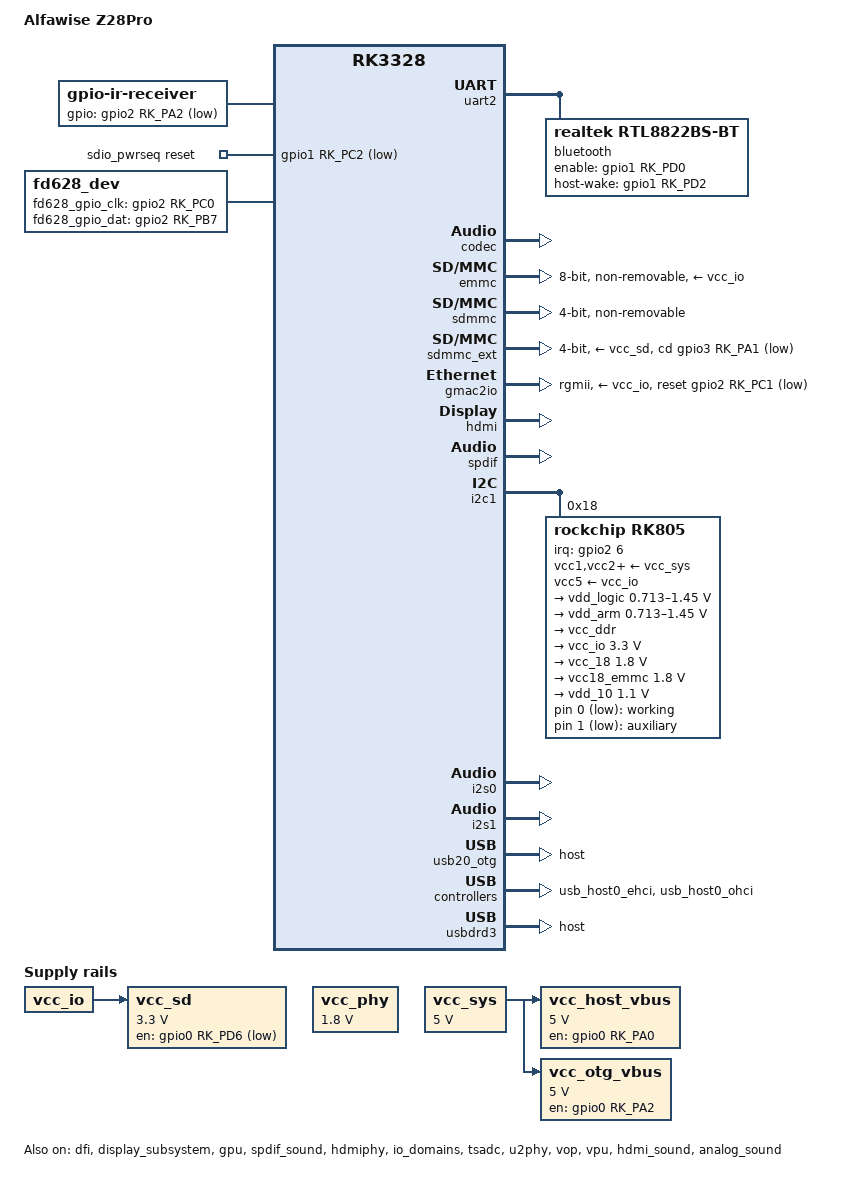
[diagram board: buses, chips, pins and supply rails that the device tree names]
// SPDX-License-Identifier: (GPL-2.0+ OR MIT)
/*
 * Copyright (c) 2020 Paolo Sabatino
 */

/dts-v1/;
#include "dt-bindings/pwm/pwm.h"
#include "dt-bindings/input/input.h"
#include <dt-bindings/clock/rockchip-ddr.h>
#include <dt-bindings/memory/rk3328-dram.h>
#include "rk3328.dtsi"

/ {
	model = "Alfawise Z28Pro";
	compatible = "rockchip,rk3318-box", "rockchip,rk3328-box", "rockchip,rk3328";

	aliases {
		mmc0 = &sdmmc;
		mmc1 = &sdio;
		mmc2 = &emmc;
		mmc3 = &sdmmc_ext;
	};

	chosen {
		stdout-path = "serial0:1500000n8";
	};

	adc_keys: adc-keys {

		compatible = "adc-keys";
		io-channels = <&saradc 0>;
		io-channel-names = "buttons";
		keyup-threshold-microvolt = <1800000>;
		poll-interval = <100>;
		status = "disabled";

		recovery {
			label = "recovery";
			linux,code = <KEY_VENDOR>;
			press-threshold-microvolt = <17000>;
		};

	};

	xin32k: xin32k {
		compatible = "fixed-clock";
		clock-frequency = <32768>;
		clock-output-names = "xin32k";
		#clock-cells = <0>;
		status = "disabled";
	};

	gmac_clkin: gmac-clkin {
		compatible = "fixed-clock";
		clock-frequency = <125000000>;
		clock-output-names = "gmac_clkin";
		#clock-cells = <0x00>;
	};

	vcc_phy: vcc-phy-regulator {
		compatible = "regulator-fixed";
		regulator-name = "vcc_phy";
		regulator-min-microvolt = <1800000>;
		regulator-max-microvolt = <1800000>;
		regulator-always-on;
		regulator-boot-on;
	};

	vcc_sys: vcc-sys {
		compatible = "regulator-fixed";
		regulator-name = "vcc_sys";
		regulator-always-on;
		regulator-boot-on;
		regulator-min-microvolt = <5000000>;
		regulator-max-microvolt = <5000000>;
	};

	vcc_sd: sdmmc-regulator {
		compatible = "regulator-fixed";
		gpio = <&gpio0 RK_PD6 GPIO_ACTIVE_LOW>;
		pinctrl-names = "default";
		pinctrl-0 = <&sdmmc0m1_pin>;
		regulator-name = "vcc_sd";
		regulator-always-on;
		regulator-boot-on;
		regulator-min-microvolt = <3300000>;
		regulator-max-microvolt = <3300000>;
		vin-supply = <&vcc_io>;
	};

	/*
	 * USB3 vbus
	 */
	vcc_host_vbus: vcc-host-vbus {
		compatible = "regulator-fixed";
		enable-active-high;
		gpio = <&gpio0 RK_PA0 GPIO_ACTIVE_HIGH>;
		pinctrl-names = "default";
		pinctrl-0 = <&usb30_host_drv>;
		regulator-name = "vcc_host_vbus";
		regulator-always-on;
		regulator-min-microvolt = <5000000>;
		regulator-max-microvolt = <5000000>;
		vin-supply = <&vcc_sys>;
	};

	/*
	 * USB2 OTG vbus
	 */
	vcc_otg_vbus: vcc-otg-vbus {
		compatible = "regulator-fixed";
		enable-active-high;
		gpio = <&gpio0 RK_PA2 GPIO_ACTIVE_HIGH>;
		pinctrl-names = "default";
		pinctrl-0 = <&usb20_host_drv>;
		regulator-name = "vcc_otg_vbus";
		regulator-always-on;
		regulator-min-microvolt = <5000000>;
		regulator-max-microvolt = <5000000>;
		vin-supply = <&vcc_sys>;
	};

	ir-receiver {
		compatible = "gpio-ir-receiver";
		gpios = <&gpio2 RK_PA2 GPIO_ACTIVE_LOW>;
		pinctrl-0 = <&ir_int>;
		pinctrl-names = "default";
	};

	sdio_pwrseq: sdio-pwrseq {
		compatible = "mmc-pwrseq-simple";
		pinctrl-names = "default";
		pinctrl-0 = <&wifi_enable_h>;
		reset-gpios = <&gpio1 RK_PC2 GPIO_ACTIVE_LOW>;
		post-power-on-delay-ms = <2000>;
	};

	fd628_dev {
		compatible = "fd628_dev";
		fd628_gpio_clk = <&gpio2 RK_PC0 GPIO_ACTIVE_HIGH>;
		fd628_gpio_dat = <&gpio2 RK_PB7 GPIO_ACTIVE_HIGH>;
		status = "okay";
	};

	analog-sound {
		compatible = "simple-audio-card";
		simple-audio-card,format = "i2s";
		simple-audio-card,mclk-fs = <256>;
		simple-audio-card,name = "ANALOG";

		simple-audio-card,cpu {
			sound-dai = <&i2s1>;
		};

		simple-audio-card,codec {
			sound-dai = <&codec>;
		};
	};

	hdmi-sound {
		compatible = "simple-audio-card";
		simple-audio-card,format = "i2s";
		simple-audio-card,mclk-fs = <128>;
		simple-audio-card,name = "HDMI";

		simple-audio-card,cpu {
			sound-dai = <&i2s0>;
		};

		simple-audio-card,codec {
			sound-dai = <&hdmi>;
		};
	};

	ddr_timing: ddr_timing {
		compatible = "rockchip,ddr-timing";
		ddr3_speed_bin = <DDR3_DEFAULT>;
		ddr4_speed_bin = <DDR4_DEFAULT>;
		pd_idle = <0>;
		sr_idle = <0>;
		sr_mc_gate_idle = <0>;
		srpd_lite_idle	= <0>;
		standby_idle = <0>;

		auto_pd_dis_freq = <1066>;
		auto_sr_dis_freq = <800>;
		ddr3_dll_dis_freq = <300>;
		ddr4_dll_dis_freq = <625>;
		phy_dll_dis_freq = <400>;

		ddr3_odt_dis_freq = <100>;
		phy_ddr3_odt_dis_freq = <100>;
		ddr3_drv = <DDR3_DS_40ohm>;
		ddr3_odt = <DDR3_ODT_120ohm>;
		phy_ddr3_ca_drv = <PHY_DDR3_RON_RTT_23ohm>;
		phy_ddr3_ck_drv = <PHY_DDR3_RON_RTT_34ohm>;
		phy_ddr3_dq_drv = <PHY_DDR3_RON_RTT_34ohm>;
		phy_ddr3_odt = <PHY_DDR3_RON_RTT_150ohm>;

		lpddr3_odt_dis_freq = <666>;
		phy_lpddr3_odt_dis_freq = <666>;
		lpddr3_drv = <LP3_DS_40ohm>;
		lpddr3_odt = <LP3_ODT_240ohm>;
		phy_lpddr3_ca_drv = <PHY_DDR4_LPDDR3_RON_RTT_34ohm>;
		phy_lpddr3_ck_drv = <PHY_DDR4_LPDDR3_RON_RTT_43ohm>;
		phy_lpddr3_dq_drv = <PHY_DDR4_LPDDR3_RON_RTT_34ohm>;
		phy_lpddr3_odt = <PHY_DDR4_LPDDR3_RON_RTT_240ohm>;

		lpddr4_odt_dis_freq = <800>;
		phy_lpddr4_odt_dis_freq = <800>;
		lpddr4_drv = <LP4_PDDS_60ohm>;
		lpddr4_dq_odt = <LP4_DQ_ODT_40ohm>;
		lpddr4_ca_odt = <LP4_CA_ODT_40ohm>;
		phy_lpddr4_ca_drv = <PHY_DDR4_LPDDR3_RON_RTT_40ohm>;
		phy_lpddr4_ck_cs_drv = <PHY_DDR4_LPDDR3_RON_RTT_80ohm>;
		phy_lpddr4_dq_drv = <PHY_DDR4_LPDDR3_RON_RTT_80ohm>;
		phy_lpddr4_odt = <PHY_DDR4_LPDDR3_RON_RTT_60ohm>;

		ddr4_odt_dis_freq = <666>;
		phy_ddr4_odt_dis_freq = <666>;
		ddr4_drv = <DDR4_DS_34ohm>;
		ddr4_odt = <DDR4_RTT_NOM_240ohm>;
		phy_ddr4_ca_drv = <PHY_DDR4_LPDDR3_RON_RTT_34ohm>;
		phy_ddr4_ck_drv = <PHY_DDR4_LPDDR3_RON_RTT_43ohm>;
		phy_ddr4_dq_drv = <PHY_DDR4_LPDDR3_RON_RTT_34ohm>;
		phy_ddr4_odt = <PHY_DDR4_LPDDR3_RON_RTT_240ohm>;

		/* CA de-skew, one step is 47.8ps, range 0-15 */
		ddr3a1_ddr4a9_de-skew = <2>;
		ddr3a0_ddr4a10_de-skew = <3>;
		ddr3a3_ddr4a6_de-skew = <3>;
		ddr3a2_ddr4a4_de-skew = <2>;
		ddr3a5_ddr4a8_de-skew = <3>;
		ddr3a4_ddr4a5_de-skew = <2>;
		ddr3a7_ddr4a11_de-skew = <3>;
		ddr3a6_ddr4a7_de-skew = <2>;
		ddr3a9_ddr4a0_de-skew = <2>;
		ddr3a8_ddr4a13_de-skew = <1>;
		ddr3a11_ddr4a3_de-skew = <2>;
		ddr3a10_ddr4cs0_de-skew = <2>;
		ddr3a13_ddr4a2_de-skew = <1>;
		ddr3a12_ddr4ba1_de-skew = <2>;
		ddr3a15_ddr4odt0_de-skew = <3>;
		ddr3a14_ddr4a1_de-skew = <2>;
		ddr3ba1_ddr4a15_de-skew = <2>;
		ddr3ba0_ddr4bg0_de-skew = <4>;
		ddr3ras_ddr4cke_de-skew = <4>;
		ddr3ba2_ddr4ba0_de-skew = <3>;
		ddr3we_ddr4bg1_de-skew = <2>;
		ddr3cas_ddr4a12_de-skew = <2>;
		ddr3ckn_ddr4ckn_de-skew = <11>;
		ddr3ckp_ddr4ckp_de-skew = <11>;
		ddr3cke_ddr4a16_de-skew = <2>;
		ddr3odt0_ddr4a14_de-skew = <4>;
		ddr3cs0_ddr4act_de-skew = <4>;
		ddr3reset_ddr4reset_de-skew = <7>;
		ddr3cs1_ddr4cs1_de-skew = <7>;
		ddr3odt1_ddr4odt1_de-skew = <7>;

		/* DATA de-skew
		 * RX one step is 25.1ps, range 0-15
		 * TX one step is 47.8ps, range 0-15
		 */
		cs0_dm0_rx_de-skew = <12>;
		cs0_dm0_tx_de-skew = <10>;
		cs0_dq0_rx_de-skew = <12>;
		cs0_dq0_tx_de-skew = <10>;
		cs0_dq1_rx_de-skew = <12>;
		cs0_dq1_tx_de-skew = <10>;
		cs0_dq2_rx_de-skew = <12>;
		cs0_dq2_tx_de-skew = <10>;
		cs0_dq3_rx_de-skew = <12>;
		cs0_dq3_tx_de-skew = <10>;
		cs0_dq4_rx_de-skew = <12>;
		cs0_dq4_tx_de-skew = <10>;
		cs0_dq5_rx_de-skew = <12>;
		cs0_dq5_tx_de-skew = <10>;
		cs0_dq6_rx_de-skew = <12>;
		cs0_dq6_tx_de-skew = <10>;
		cs0_dq7_rx_de-skew = <12>;
		cs0_dq7_tx_de-skew = <10>;
		cs0_dqs0_rx_de-skew = <10>;
		cs0_dqs0p_tx_de-skew = <12>;
		cs0_dqs0n_tx_de-skew = <12>;

		cs0_dm1_rx_de-skew = <10>;
		cs0_dm1_tx_de-skew = <8>;
		cs0_dq8_rx_de-skew = <10>;
		cs0_dq8_tx_de-skew = <8>;
		cs0_dq9_rx_de-skew = <10>;
		cs0_dq9_tx_de-skew = <8>;
		cs0_dq10_rx_de-skew = <10>;
		cs0_dq10_tx_de-skew = <8>;
		cs0_dq11_rx_de-skew = <10>;
		cs0_dq11_tx_de-skew = <8>;
		cs0_dq12_rx_de-skew = <10>;
		cs0_dq12_tx_de-skew = <8>;
		cs0_dq13_rx_de-skew = <10>;
		cs0_dq13_tx_de-skew = <8>;
		cs0_dq14_rx_de-skew = <10>;
		cs0_dq14_tx_de-skew = <8>;
		cs0_dq15_rx_de-skew = <10>;
		cs0_dq15_tx_de-skew = <8>;
		cs0_dqs1_rx_de-skew = <9>;
		cs0_dqs1p_tx_de-skew = <10>;
		cs0_dqs1n_tx_de-skew = <10>;

		cs0_dm2_rx_de-skew = <10>;
		cs0_dm2_tx_de-skew = <9>;
		cs0_dq16_rx_de-skew = <10>;
		cs0_dq16_tx_de-skew = <9>;
		cs0_dq17_rx_de-skew = <10>;
		cs0_dq17_tx_de-skew = <9>;
		cs0_dq18_rx_de-skew = <10>;
		cs0_dq18_tx_de-skew = <9>;
		cs0_dq19_rx_de-skew = <10>;
		cs0_dq19_tx_de-skew = <9>;
		cs0_dq20_rx_de-skew = <10>;
		cs0_dq20_tx_de-skew = <9>;
		cs0_dq21_rx_de-skew = <10>;
		cs0_dq21_tx_de-skew = <9>;
		cs0_dq22_rx_de-skew = <10>;
		cs0_dq22_tx_de-skew = <9>;
		cs0_dq23_rx_de-skew = <10>;
		cs0_dq23_tx_de-skew = <9>;
		cs0_dqs2_rx_de-skew = <9>;
		cs0_dqs2p_tx_de-skew = <11>;
		cs0_dqs2n_tx_de-skew = <11>;

		cs0_dm3_rx_de-skew = <7>;
		cs0_dm3_tx_de-skew = <7>;
		cs0_dq24_rx_de-skew = <7>;
		cs0_dq24_tx_de-skew = <7>;
		cs0_dq25_rx_de-skew = <7>;
		cs0_dq25_tx_de-skew = <7>;
		cs0_dq26_rx_de-skew = <7>;
		cs0_dq26_tx_de-skew = <7>;
		cs0_dq27_rx_de-skew = <7>;
		cs0_dq27_tx_de-skew = <7>;
		cs0_dq28_rx_de-skew = <7>;
		cs0_dq28_tx_de-skew = <7>;
		cs0_dq29_rx_de-skew = <7>;
		cs0_dq29_tx_de-skew = <7>;
		cs0_dq30_rx_de-skew = <7>;
		cs0_dq30_tx_de-skew = <7>;
		cs0_dq31_rx_de-skew = <7>;
		cs0_dq31_tx_de-skew = <7>;
		cs0_dqs3_rx_de-skew = <7>;
		cs0_dqs3p_tx_de-skew = <10>;
		cs0_dqs3n_tx_de-skew = <10>;

		cs1_dm0_rx_de-skew = <7>;
		cs1_dm0_tx_de-skew = <8>;
		cs1_dq0_rx_de-skew = <7>;
		cs1_dq0_tx_de-skew = <8>;
		cs1_dq1_rx_de-skew = <7>;
		cs1_dq1_tx_de-skew = <8>;
		cs1_dq2_rx_de-skew = <7>;
		cs1_dq2_tx_de-skew = <8>;
		cs1_dq3_rx_de-skew = <7>;
		cs1_dq3_tx_de-skew = <8>;
		cs1_dq4_rx_de-skew = <7>;
		cs1_dq4_tx_de-skew = <8>;
		cs1_dq5_rx_de-skew = <7>;
		cs1_dq5_tx_de-skew = <8>;
		cs1_dq6_rx_de-skew = <7>;
		cs1_dq6_tx_de-skew = <8>;
		cs1_dq7_rx_de-skew = <7>;
		cs1_dq7_tx_de-skew = <8>;
		cs1_dqs0_rx_de-skew = <6>;
		cs1_dqs0p_tx_de-skew = <9>;
		cs1_dqs0n_tx_de-skew = <9>;

		cs1_dm1_rx_de-skew = <7>;
		cs1_dm1_tx_de-skew = <7>;
		cs1_dq8_rx_de-skew = <7>;
		cs1_dq8_tx_de-skew = <8>;
		cs1_dq9_rx_de-skew = <7>;
		cs1_dq9_tx_de-skew = <7>;
		cs1_dq10_rx_de-skew = <7>;
		cs1_dq10_tx_de-skew = <8>;
		cs1_dq11_rx_de-skew = <7>;
		cs1_dq11_tx_de-skew = <7>;
		cs1_dq12_rx_de-skew = <7>;
		cs1_dq12_tx_de-skew = <8>;
		cs1_dq13_rx_de-skew = <7>;
		cs1_dq13_tx_de-skew = <7>;
		cs1_dq14_rx_de-skew = <7>;
		cs1_dq14_tx_de-skew = <8>;
		cs1_dq15_rx_de-skew = <7>;
		cs1_dq15_tx_de-skew = <7>;
		cs1_dqs1_rx_de-skew = <7>;
		cs1_dqs1p_tx_de-skew = <9>;
		cs1_dqs1n_tx_de-skew = <9>;

		cs1_dm2_rx_de-skew = <7>;
		cs1_dm2_tx_de-skew = <8>;
		cs1_dq16_rx_de-skew = <7>;
		cs1_dq16_tx_de-skew = <8>;
		cs1_dq17_rx_de-skew = <7>;
		cs1_dq17_tx_de-skew = <8>;
		cs1_dq18_rx_de-skew = <7>;
		cs1_dq18_tx_de-skew = <8>;
		cs1_dq19_rx_de-skew = <7>;
		cs1_dq19_tx_de-skew = <8>;
		cs1_dq20_rx_de-skew = <7>;
		cs1_dq20_tx_de-skew = <8>;
		cs1_dq21_rx_de-skew = <7>;
		cs1_dq21_tx_de-skew = <8>;
		cs1_dq22_rx_de-skew = <7>;
		cs1_dq22_tx_de-skew = <8>;
		cs1_dq23_rx_de-skew = <7>;
		cs1_dq23_tx_de-skew = <8>;
		cs1_dqs2_rx_de-skew = <6>;
		cs1_dqs2p_tx_de-skew = <9>;
		cs1_dqs2n_tx_de-skew = <9>;

		cs1_dm3_rx_de-skew = <7>;
		cs1_dm3_tx_de-skew = <7>;
		cs1_dq24_rx_de-skew = <7>;
		cs1_dq24_tx_de-skew = <8>;
		cs1_dq25_rx_de-skew = <7>;
		cs1_dq25_tx_de-skew = <7>;
		cs1_dq26_rx_de-skew = <7>;
		cs1_dq26_tx_de-skew = <7>;
		cs1_dq27_rx_de-skew = <7>;
		cs1_dq27_tx_de-skew = <7>;
		cs1_dq28_rx_de-skew = <7>;
		cs1_dq28_tx_de-skew = <7>;
		cs1_dq29_rx_de-skew = <7>;
		cs1_dq29_tx_de-skew = <7>;
		cs1_dq30_rx_de-skew = <7>;
		cs1_dq30_tx_de-skew = <7>;
		cs1_dq31_rx_de-skew = <7>;
		cs1_dq31_tx_de-skew = <7>;
		cs1_dqs3_rx_de-skew = <7>;
		cs1_dqs3p_tx_de-skew = <9>;
		cs1_dqs3n_tx_de-skew = <9>;
	};

	gpio_led: gpio-leds {
		compatible = "gpio-leds";

		working {
			gpios = <&rk805 0 GPIO_ACTIVE_LOW>;
			linux,default-trigger = "heartbeat";
			//default-state = "off";
			//mode = <35>;
		};

		auxiliary {
			gpios = <&rk805 1 GPIO_ACTIVE_LOW>;
			linux,default-trigger = "mmc2";
			//default-state = "off";
			//mode = <5>;
		};
	};
};

&uart0 {

	status = "disabled";

};

&uart2 {
	status = "okay";

	bluetooth {
		compatible = "realtek,rtl8822bs-bt";
		enable-gpios = <&gpio1 RK_PD0 GPIO_ACTIVE_HIGH>;
		host-wake-gpios = <&gpio1 RK_PD2 GPIO_ACTIVE_HIGH>;
	};
};

&dfi {
	status = "okay";
};

&dmc {
	center-supply = <&vdd_logic>;
	ddr_timing = <&ddr_timing>;
	status = "disabled";
};

&codec {
	status = "okay";
	mute-gpios = <&grf_gpio 0 GPIO_ACTIVE_LOW>;
};

&cpu0 {
	cpu-supply = <&vdd_arm>;
};

&cpu1 {
	cpu-supply = <&vdd_arm>;
};

&cpu2 {
	cpu-supply = <&vdd_arm>;
};

&cpu3 {
	cpu-supply = <&vdd_arm>;
};

&display_subsystem {
	status = "okay";
};

&emmc {
	supports-emmc;
	no-sdio;
	no-sd;
	cap-mmc-highspeed;
	disable-wp;
	non-removable;
	bus-width = <8>;
	num-slots = <0x01>;
	pinctrl-names = "default";
	pinctrl-0 = <&emmc_clk &emmc_cmd &emmc_bus8>;
	vmmc-supply = <&vcc_io>;
	vqmmc-supply = <&vcc18_emmc>;
	status = "okay";
};

&sdmmc {
	#address-cells = <0x01>;
	#size-cells = <0x00>;
	bus-width = <4>;
	cap-sd-highspeed;
	cap-sdio-irq;
	disable-wp;
	keep-power-in-suspend;
	non-removable;
	no-mmc;
	no-sd;
	mmc-pwrseq = <&sdio_pwrseq>;
	num-slots = <1>;
	pinctrl-names = "default";
	pinctrl-0 = <&sdmmc0_clk &sdmmc0_cmd &sdmmc0_dectn &sdmmc0_bus4>;
	supports-sdio;
	vqmmc-supply = <&vcc_18>;
	wakeup-source;
	status = "okay";
};

&sdio {
	status = "disabled";
};

&sdmmc_ext {
	#address-cells = <1>;
	#size-cells = <0>;
	bus-width = <4>;
	cap-mmc-highspeed;
	cap-sd-highspeed;
	card-detect-delay = <500>;
	cd-gpios = <&gpio3 RK_PA1 GPIO_ACTIVE_LOW>;
	disable-wp;
	no-sdio;
	pinctrl-names = "default";
	pinctrl-0 = <&sdmmc0ext_clk &sdmmc0ext_cmd &sdmmc0ext_dectn &sdmmc0ext_bus4>;
	supports-sd;
	status = "okay";
	vmmc-supply = <&vcc_sd>;
};

&gmac2io {
	assigned-clocks = <&cru SCLK_MAC2IO>, <&cru SCLK_MAC2IO_EXT>;
	assigned-clock-parents = <&gmac_clkin>, <&gmac_clkin>;
	clock_in_out = "input";
	phy-supply = <&vcc_io>;
	phy-mode = "rgmii";
	pinctrl-names = "default";
	pinctrl-0 = <&rgmiim1_pins>;
	snps,force_thresh_dma_mode;
	snps,reset-gpio = <&gpio2 RK_PC1 GPIO_ACTIVE_LOW>;
	snps,reset-active-low;
	snps,reset-delays-us = <0 10000 50000>;
	tx_delay = <0x24>;
	rx_delay = <0x18>;
	status = "okay";
};

&gmac2phy {
	status = "disabled";
};

&gpu {
	status = "okay";
	mali-supply = <&vdd_logic>;
};

/*
&h265e {
	status = "okay";
};
*/

&h265e_mmu {
	status = "okay";
};

&hdmi {
	status = "okay";
};

&spdif {
	pinctrl-0 = <&spdifm0_tx>;
	status = "okay";
};

&spdif_out {
	status = "okay";
};

&spdif_sound {
	status = "okay";
};

&hdmiphy {
	status = "okay";
};

&i2c1 {
	status = "okay";

	rk805: pmic@18 {
		compatible = "rockchip,rk805";
		reg = <0x18>;
		interrupt-parent = <&gpio2>;
		interrupts = <6 IRQ_TYPE_LEVEL_LOW>;
		#clock-cells = <1>;
		clock-output-names = "xin32k", "rk805-clkout2";
		gpio-controller;
		#gpio-cells = <2>;
		pinctrl-names = "default";
		pinctrl-0 = <&pmic_int_l>;
		rockchip,system-power-controller;
		wakeup-source;

		vcc1-supply = <&vcc_sys>;
		vcc2-supply = <&vcc_sys>;
		vcc3-supply = <&vcc_sys>;
		vcc4-supply = <&vcc_sys>;
		vcc5-supply = <&vcc_io>;
		vcc6-supply = <&vcc_sys>;

		regulators {
			vdd_logic: DCDC_REG1 {
				regulator-name = "vdd_logic";
				regulator-min-microvolt = <712500>;
				regulator-max-microvolt = <1450000>;
				regulator-ramp-delay = <12500>;
				regulator-always-on;
				regulator-boot-on;
				regulator-state-mem {
					regulator-on-in-suspend;
					regulator-suspend-microvolt = <1000000>;
				};
			};

			vdd_arm: DCDC_REG2 {
				regulator-name = "vdd_arm";
				regulator-min-microvolt = <712500>;
				regulator-max-microvolt = <1450000>;
				regulator-ramp-delay = <12500>;
				regulator-always-on;
				regulator-boot-on;
				regulator-state-mem {
					regulator-on-in-suspend;
					regulator-suspend-microvolt = <950000>;
				};
			};

			vcc_ddr: DCDC_REG3 {
				regulator-name = "vcc_ddr";
				regulator-always-on;
				regulator-boot-on;
				regulator-state-mem {
					regulator-on-in-suspend;
				};
			};

			vcc_io: DCDC_REG4 {
				regulator-name = "vcc_io";
				regulator-min-microvolt = <3300000>;
				regulator-max-microvolt = <3300000>;
				regulator-always-on;
				regulator-boot-on;
				regulator-state-mem {
					regulator-on-in-suspend;
					regulator-suspend-microvolt = <3300000>;
				};
			};

			vcc_18: LDO_REG1 {
				regulator-name = "vcc_18";
				regulator-min-microvolt = <1800000>;
				regulator-max-microvolt = <1800000>;
				regulator-always-on;
				regulator-boot-on;
				regulator-state-mem {
					regulator-on-in-suspend;
					regulator-suspend-microvolt = <1800000>;
				};
			};

			vcc18_emmc: LDO_REG2 {
				regulator-name = "vcc18_emmc";
				regulator-min-microvolt = <1800000>;
				regulator-max-microvolt = <1800000>;
				regulator-always-on;
				regulator-boot-on;
				regulator-state-mem {
					regulator-on-in-suspend;
					regulator-suspend-microvolt = <1800000>;
				};
			};

			vdd_10: LDO_REG3 {
				regulator-name = "vdd_11";
				regulator-min-microvolt = <1100000>;
				regulator-max-microvolt = <1100000>;
				regulator-always-on;
				regulator-boot-on;
				regulator-state-mem {
					regulator-on-in-suspend;
					regulator-suspend-microvolt = <1100000>;
				};
			};
		};
	};
};

&i2s0 {
	status = "okay";
};

&i2s1 {
	status = "okay";
};

&io_domains {
	status = "okay";

	vccio1-supply = <&vcc_io>;
	vccio2-supply = <&vcc18_emmc>;
	vccio3-supply = <&vcc_18>;
	vccio4-supply = <&vcc_18>;
	vccio5-supply = <&vcc_io>;
	vccio6-supply = <&vcc_io>;
	pmuio-supply = <&vcc_io>;
};

&pinctrl {
	pinctrl-names = "default";
	pinctrl-0 = <&clk_32k_out>;

	clk_32k {
		clk_32k_out: clk-32k-out {
			rockchip,pins = <1 RK_PD4 1 &pcfg_pull_none>;
		};
	};

	ir {
		ir_int: ir-int {
			rockchip,pins = <2 RK_PA2 RK_FUNC_GPIO &pcfg_pull_none>;
		};
	};

	pmic {
		pmic_int_l: pmic-int-l {
			rockchip,pins = <2 RK_PA6 RK_FUNC_GPIO &pcfg_pull_up>;
		};
	};

	sdio-pwrseq {
		wifi_enable_h: wifi-enable-h {
			rockchip,pins = <1 RK_PC2 RK_FUNC_GPIO &pcfg_pull_none_4ma>;
		};
	};

	usb2 {
		usb20_host_drv: usb20-host-drv {
			rockchip,pins = <0 RK_PA2 RK_FUNC_GPIO &pcfg_pull_none>;
		};
	};

	usb3 {
		usb30_host_drv: usb30-host-drv {
			rockchip,pins = <0 RK_PA0 RK_FUNC_GPIO &pcfg_pull_none>;
		};
	};

	wireless-wlan {
		sdio_host_wake: sdio-host-wake {
			rockchip,pins = <1 RK_PA5 RK_FUNC_GPIO &pcfg_pull_none>;
		};
	};

};

/*
&vdec {
	status = "okay";
	vcodec-supply = <&vdd_logic>;
};
*/

&vdec_mmu {
	status = "okay";
};

&threshold {
	temperature = <80000>; /* millicelsius */
};

&target {
	temperature = <95000>; /* millicelsius */
};

&soc_crit {
	temperature = <100000>; /* millicelsius */
};

&tsadc {
	rockchip,hw-tshut-mode = <0>;
	rockchip,hw-tshut-polarity = <0>;
	status = "okay";
};

&u2phy {
	status = "okay";

	u2phy_host: host-port {
		status = "okay";
	};

	u2phy_otg: otg-port {
		status = "okay";
	};
};

&usb20_otg {
	dr_mode = "host";
	resets = <&cru SRST_USB2OTG>;
	reset-names = "dwc2";
	status = "okay";
};

&usb_host0_ehci {
	resets = <&cru SRST_USB2HOST_EHCIPHY>;
	reset-names = "ehci";
	status = "okay";
};

&usb_host0_ohci {
	status = "okay";
};

&usbdrd3 {
	#address-cells = <1>;
	#size-cells = <0>;
	dr_mode = "host";
	status = "okay";
};

&vop {
	status = "okay";
};

&vop_mmu {
	status = "okay";
};

&vpu {
	status = "okay";
	vcodec-supply = <&vdd_logic>;
};

&vpu_mmu {
	status = "okay";
};

/*
&vepu {
	status = "okay";
};
*/

&vepu_mmu {
	status = "okay";
};

&saradc {
	vref-supply = <&vcc_18>;
	status = "disabled";
};

/*
&rga {
	status = "okay";
};
*/

&pwm0 {
	status = "disabled";
};

&pwm1 {
	status = "disabled";
};

&hdmi_sound {
	status = "okay";
};

&analog_sound {
	status = "okay";
};
